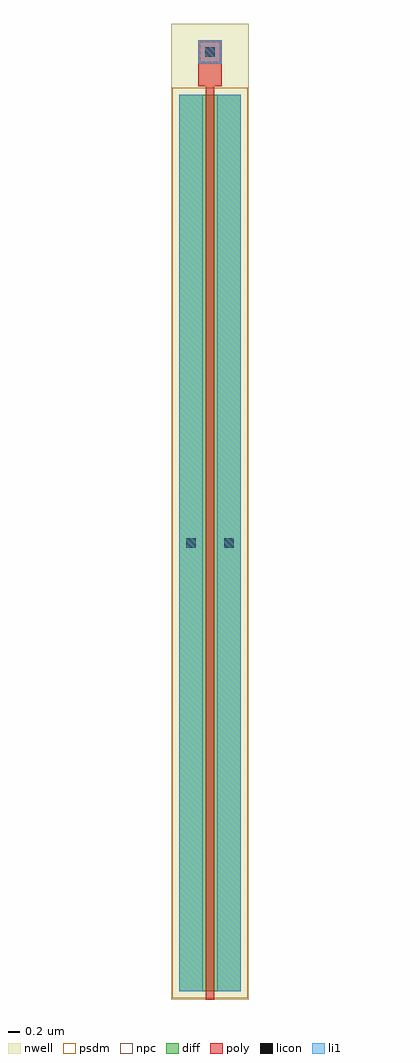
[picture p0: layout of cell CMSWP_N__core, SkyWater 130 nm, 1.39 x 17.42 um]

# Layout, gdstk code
import gdstk
lib = gdstk.Library(unit=1e-6, precision=1e-09)
def R(c, l, rs):  # rectangles x0, y0, x1, y1
    for r in rs: c.add(gdstk.rectangle(r[:2], r[2:], *l))
nwell = (64, 20)
diff = (65, 20)
poly = (66, 20)
licon = (66, 44)
li1 = (67, 20)
psdm = (94, 20)
npc = (95, 20)

cmswp_n__core = lib.new_cell('CMSWP_N__core')
R(cmswp_n__core, nwell, [(-0.15,-0.15,1.24,17.27)])
R(cmswp_n__core, diff, [(0,0,1.09,16)])
R(cmswp_n__core, poly, [(0.47,-0.15,0.62,16), (0.47,16,0.62,16.15), (0.47,16,0.62,16.15), (0.335,16.15,0.755,16.97)])
R(cmswp_n__core, licon, [(0.125,7.915,0.295,8.085), (0.795,7.915,0.965,8.085), (0.46,16.675,0.63,16.845)])
R(cmswp_n__core, li1, [(0,0,0.42,16), (0.67,0,1.09,16), (0.335,16.55,0.755,16.97)])
R(cmswp_n__core, psdm, [(-0.125,-0.125,1.215,16.125)])
R(cmswp_n__core, npc, [(0.365,16.58,0.725,16.94)])

lib.write_gds('CMSWP_N__core.gds')
